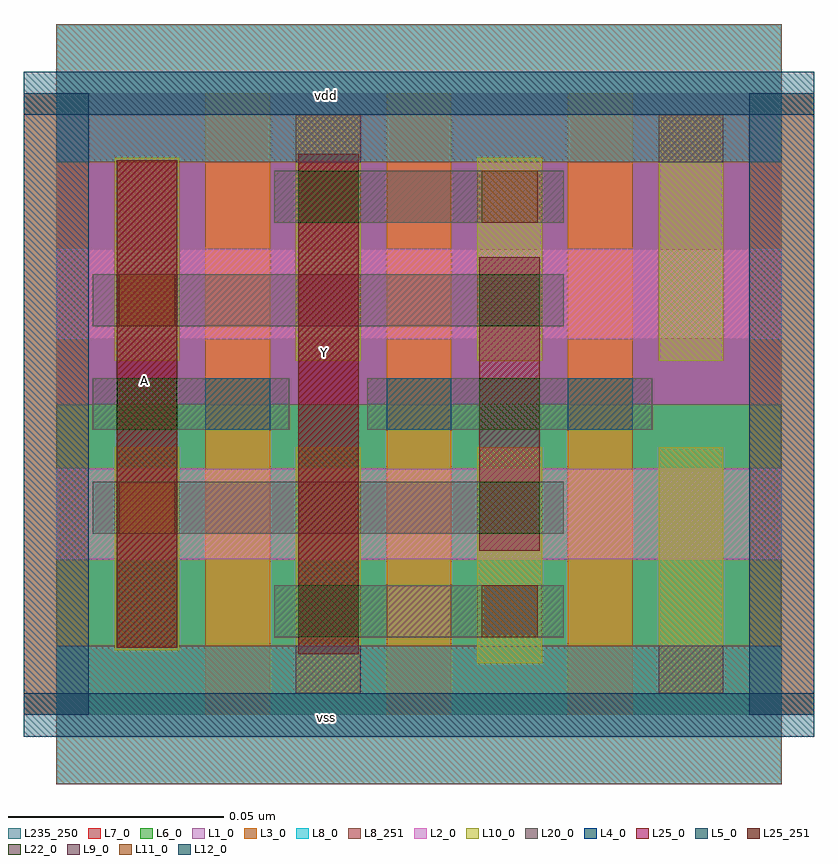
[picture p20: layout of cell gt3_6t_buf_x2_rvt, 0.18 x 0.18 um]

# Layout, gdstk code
import gdstk
lib = gdstk.Library(unit=1e-6, precision=5e-10)
def R(c, l, rs):  # rectangles x0, y0, x1, y1
    for r in rs: c.add(gdstk.rectangle(r[:2], r[2:], *l))
def A(c, l, x, y, w, h, nx, ny, dx, dy):  # array of equal rectangles
    R(c, l, [(x+i*dx, y+j*dy, x+i*dx+w, y+j*dy+h) for i in range(nx) for j in range(ny)])
L1_0 = (1, 0)
L2_0 = (2, 0)
L3_0 = (3, 0)
L4_0 = (4, 0)
L5_0 = (5, 0)
L6_0 = (6, 0)
L7_0 = (7, 0)
L8_0 = (8, 0)
L8_251 = (8, 251)
L9_0 = (9, 0)
L10_0 = (10, 0)
L11_0 = (11, 0)
L12_0 = (12, 0)
L20_0 = (20, 0)
L22_0 = (22, 0)
L25_0 = (25, 0)
L25_251 = (25, 251)
L235_250 = (235, 250)

gt3_6t_buf_x2_rvt = lib.new_cell('gt3_6t_buf_x2_rvt')
R(gt3_6t_buf_x2_rvt, L1_0, [(0,0.072,0.168,0.144)])
R(gt3_6t_buf_x2_rvt, L2_0, [(0,0.036,0.168,0.057), (0,0.087,0.168,0.108)])
A(gt3_6t_buf_x2_rvt, L3_0, -0.0075, 0, 0.015, 0.144, 5, 1, 0.042, 0)
R(gt3_6t_buf_x2_rvt, L4_0, [(-0.0075,0,0.0075,0.144), (0.1605,0,0.1755,0.144)])
R(gt3_6t_buf_x2_rvt, L5_0, [(-0.0075,-0.005,0.1755,0.005), (-0.0075,0.139,0.1755,0.149)])
R(gt3_6t_buf_x2_rvt, L6_0, [(0,0,0.168,0.072)])
R(gt3_6t_buf_x2_rvt, L7_0, [(0,0.072,0.168,0.144)])
R(gt3_6t_buf_x2_rvt, L8_0, [(0,-0.016,0.168,0.016), (0,0.128,0.168,0.16)])
R(gt3_6t_buf_x2_rvt, L8_251, [(0,-0.016,0.168,0.016), (0,0.128,0.168,0.16)])
R(gt3_6t_buf_x2_rvt, L9_0, [(0.0555,0.005,0.0705,0.016), (0.1395,0.005,0.1545,0.016), (0.0555,0.128,0.0705,0.139), (0.1395,0.128,0.1545,0.139)])
R(gt3_6t_buf_x2_rvt, L10_0, [(0.0555,0.005,0.0705,0.062), (0.1395,0.005,0.1545,0.062), (0.0975,0.012,0.1125,0.062), (0.0135,0.015,0.0285,0.062), (0.0135,0.082,0.0285,0.129), (0.0555,0.082,0.0705,0.139), (0.0975,0.082,0.1125,0.129), (0.1395,0.082,0.1545,0.139)])
R(gt3_6t_buf_x2_rvt, L11_0, [(0.0985,0.018,0.1115,0.03), (0.0145,0.042,0.0275,0.054), (0.0145,0.09,0.0275,0.102), (0.0985,0.114,0.1115,0.126)])
A(gt3_6t_buf_x2_rvt, L12_0, 0.0345, 0.066, 0.015, 0.012, 3, 1, 0.042, 0)
R(gt3_6t_buf_x2_rvt, L20_0, [(0.0505,0.018,0.1175,0.03), (0.0085,0.042,0.1175,0.054), (0.0085,0.066,0.054,0.078), (0.072,0.066,0.138,0.078), (0.0085,0.09,0.1175,0.102), (0.0505,0.114,0.1175,0.126)])
A(gt3_6t_buf_x2_rvt, L22_0, 0.098, 0.042, 0.014, 0.012, 1, 3, 0, 0.024)
R(gt3_6t_buf_x2_rvt, L22_0, [(0.056,0.018,0.07,0.03), (0.014,0.066,0.028,0.078), (0.056,0.114,0.07,0.126)])
R(gt3_6t_buf_x2_rvt, L25_0, [(0.056,0.014,0.07,0.13), (0.014,0.0155,0.028,0.1285), (0.098,0.038,0.112,0.106)])
R(gt3_6t_buf_x2_rvt, L25_251, [(0.056,0.014,0.07,0.13), (0.014,0.0155,0.028,0.1285)])
R(gt3_6t_buf_x2_rvt, L235_250, [(0,0,0.168,0.144)])
gt3_6t_buf_x2_rvt.add(gdstk.Label('vss', (0.0625,-0.0005), layer=8, texttype=251))
gt3_6t_buf_x2_rvt.add(gdstk.Label('vdd', (0.0625,0.1435), layer=8, texttype=251))
gt3_6t_buf_x2_rvt.add(gdstk.Label('A', (0.0205,0.0775), layer=25, texttype=251))
gt3_6t_buf_x2_rvt.add(gdstk.Label('Y', (0.062,0.084), layer=25, texttype=251))

lib.write_gds('gt3_6t_buf_x2_rvt.gds')
